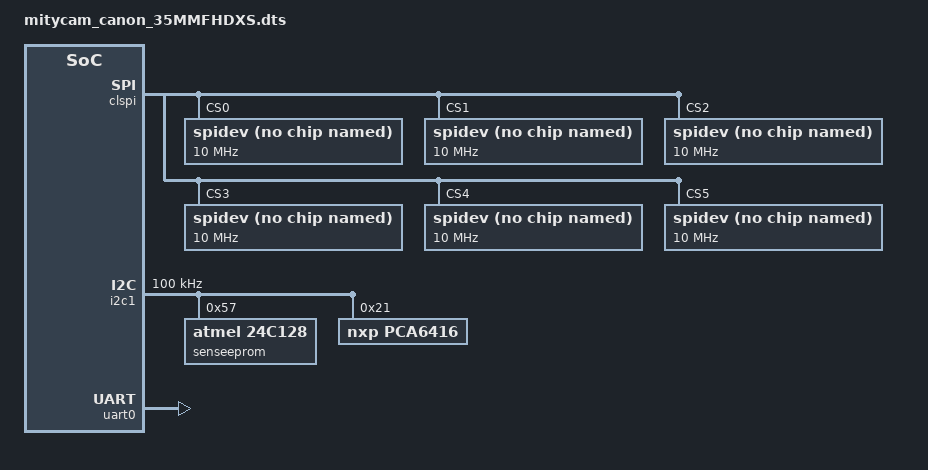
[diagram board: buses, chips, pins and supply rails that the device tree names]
/*
 * Copyright (C) 2014-2015 Altera Corporation <www.altera.com>
 *
 * This program is free software; you can redistribute it and/or modify
 * it under the terms of the GNU General Public License as published by
 * the Free Software Foundation; either version 2 of the License, or
 * (at your option) any later version.
 *
 * This program is distributed in the hope that it will be useful,
 * but WITHOUT ANY WARRANTY; without even the implied warranty of
 * MERCHANTABILITY or FITNESS FOR A PARTICULAR PURPOSE.  See the
 * GNU General Public License for more details.
 *
 * You should have received a copy of the GNU General Public License
 * along with this program.  If not, see <http://www.gnu.org/licenses/>.
 */

/dts-v1/;
#include "mitysom_a10s_dsc.dtsi"

/ {
	aliases {
		spi0 = &spi0;
		serial1 = &uart0;
	};

	soc {
		hps_lw_bus: bus@0ff200000 {
			compatible = "simple-bus";
			reg = <0xFF200000 0x00200000>;
			#address-cells = <1>;
			#size-cells = <1>;
			ranges = <0x0 0xFF200000 0x00200000>;
			status = "okay";

			sysid_qsys: sysid@0000 {
				compatible = "altr,sysid-1.0";
				reg = <0x000000 0x08>;
			};

			/* (51-32)=19 is zero */
			pio_pll: gpio@1000 {
				compatible = "altr,pio-1.0";
				reg = <0x00001000 0x10>;
				altr,ngpio = <8>;
				interrupts = <0 23 4>;
				altr,interrupt-type = <IRQ_TYPE_EDGE_RISING>;
				#gpio-cells = <2>;
				gpio-controller;
				#interrupt-cells = <1>;
				interrupt-controller;
				gpio-line-names = "MCLK_PLL_LOCK", "I2C_INT", "", "", "PLL_LOCKED30", "PLL_LOCKED21", "", "";
			};

			pio_sensor: gpio@2000 {
				compatible = "altr,pio-1.0";
				reg = <0x00002000 0x10>;
				altr,ngpio = <8>;
				#interrupts = <0 26 4>;
				#altr,interrupt-type = <IRQ_TYPE_EDGE_RISING>;
				#gpio-cells = <2>;
				gpio-controller;
				#interrupt-cells = <1>;
				#interrupt-controller;
				gpio-line-names = "PLL_ARESET30", "PLL_ARESET21", "MAX10_RESET_N", "MAX10_CLOCK_ENABLE", "DDC_ENABLE_N", "", "", "";
			};

			/* pll_reconfig      @04000, managed in userspace */

			clspi: spi@13000 {
				compatible = "cl,spi-1.0";
				#address-cells = <1>;
				#size-cells = <0>;
				reg = <0x00013000 0x0100>;
				interrupts = <0 21 4>;
				master-ref-clk = <100000000>;
				num-chipselect = <6>;
				bus-num = <0>;

				/* MAX10 */
				spidev@0 {
					compatible = "cl,spidev";
					spi-max-frequency = <10000000>;
					reg = <0>;
				};

				/* ADC0 */
				spidev@1 {
					compatible = "cl,spidev";
					spi-max-frequency = <10000000>;
					reg = <1>;
				};

				/* ADC1 */
				spidev@2 {
					compatible = "cl,spidev";
					spi-max-frequency = <10000000>;
					reg = <2>;
				};

				/* ADC2 */
				spidev@3 {
					compatible = "cl,spidev";
					spi-max-frequency = <10000000>;
					reg = <3>;
				};

				/* ADC3 */
				spidev@4 {
					compatible = "cl,spidev";
					spi-max-frequency = <10000000>;
					reg = <4>;
				};

				/* Sensor */
				spidev@5 {
					compatible = "cl,spidev";
					spi-max-frequency = <10000000>;
					reg = <5>;
				};
			};

			/* canon_35MMFHDXS   @12000, managed in userspace */

			pio_fx3: gpio@14000 {
				compatible = "altr,pio-1.0";
				reg = <0x00014000 0x10>;
				altr,ngpio = <3>;
				interrupts = <0 24 4>;
				altr,interrupt-type = <IRQ_TYPE_EDGE_RISING>;
				#gpio-cells = <2>;
				gpio-controller;
				#interrupt-cells = <1>;
				interrupt-controller;
				gpio-line-names = "SENS_PRESENT", "FX3_PRESENT", "FX3_IO", "", "", "", "", "";
			};


			cam_gpio: gpio@10000 {
				compatible = "cl,camio-1.0";
				reg = <0x00010000 0x20>;
				interrupts = <0 22 4>;
				interrupt-controller;
				#interrupt-cells = <2>;
				gpio-controller;
				#gpio-cells=<2>;
				gpio-line-names = "CAMIO1", "CAMIO2", "CAMIO3", "CAMIO4";
			};

			/* bad_pix           @15000, managed in userspace */
			/* sgdma_ctrl        @16000, managed in userspace */
			/* pixel_shift       @17000, managed in userspace */
			/* stream_to_raster  @18000, managed in userspace */
			/* sgdma_desc        @19000, managed in userspace */
			/* u3v_sgdma         @20000, managed in userspace */
			/* u3v_sgdma_desc    @21000, managed in userspace */
			/* u3v_fx3           @22000, managed in userspace */
		};

		streamer0: streamer@80000000 {
			compatible = "uio,irq";
			interrupts = <0 20 4>;
		};
	};
};

&i2c1 {
	status = "okay";
	clock-frequency = <100000>;
        i2c-sda-hold-time-ns = <500>;


	/* USB IO Tri-Color LED */
	/* disabled - used directly by ARM software */
	/* 
	led@62 {
		compatible = "nxp,pca9553";
		reg = <0x62>;
	}; */

	/* Sensor board */
	/* EEPROM */
	senseeprom: eeprom@57 {
		compatible = "atmel,24c128";
		reg = <0x57>;
		pagesize = <64>;
	};

	/* GPIO Expander */
	pca6416: pca6416@21 {
		compatible = "nxp,pca6416";
		reg = <0x21>;
		#gpio-cells = <2>;
		gpio-controller;
		gpio-line-names = "CONFIG_SEL", "DONE", "FAULT", "SENSOR_PS_ENABLE", "ADC_PS_ENABLE", "CONFIG_DONE", "MAX10_OE", "MAX10_CONFIG_N", "PS_ENB" ;
		/* interrupt-controller; */
		/* interrupt-parent = <&pio_pll>; */
		/* interrupts = <1 IRQ_TYPE_LEVEL_LOW>; */
	};

	/* ADS7828 @ 0x49 -- managed in user space */
	/* ADS7828 @ 0x4A -- managed in user space */
};

/* FX3 comms interface */
&uart0 {
	status = "okay";
};

